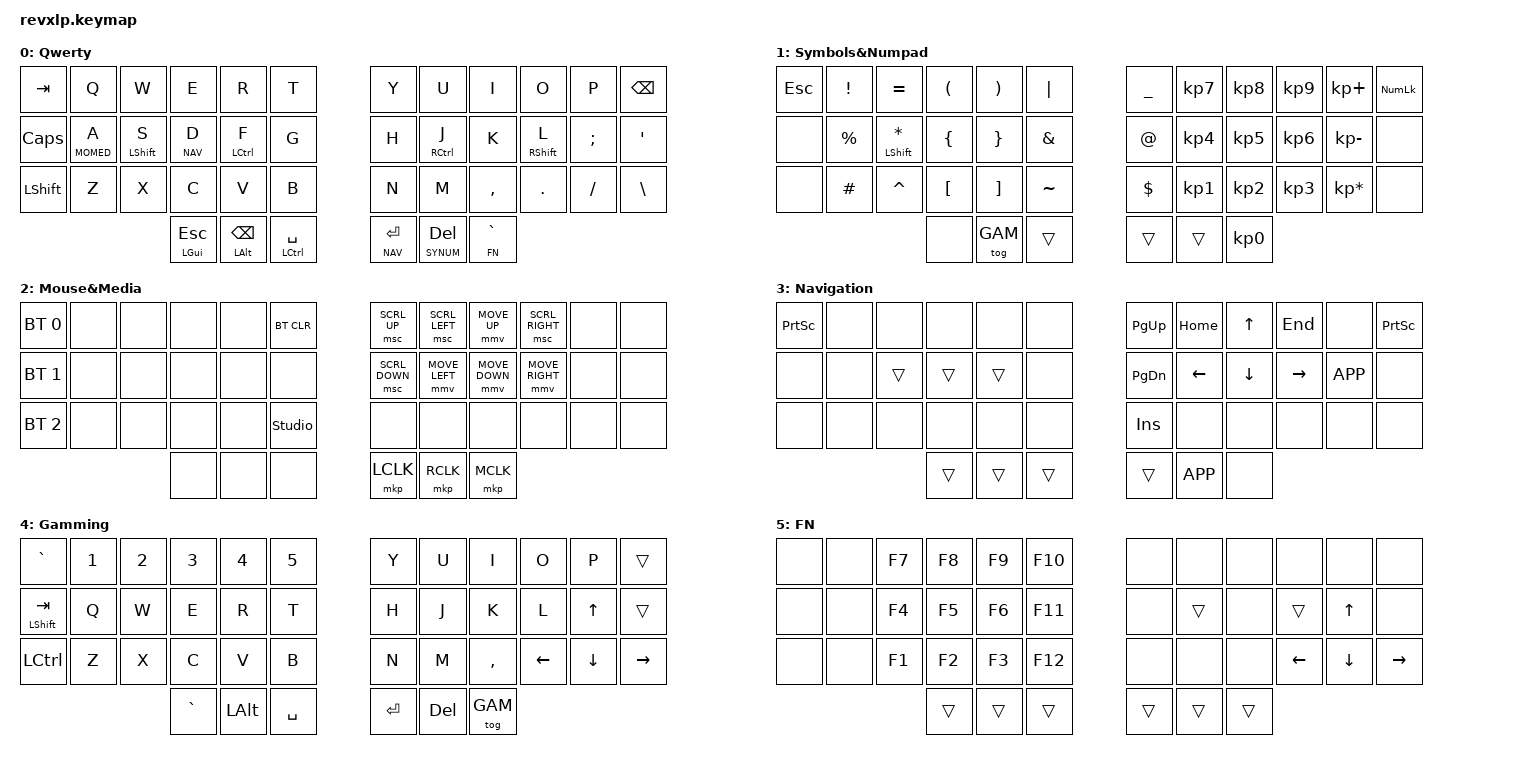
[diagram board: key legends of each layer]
/**
 * Copyright (c) 2020 The ZMK Contributors
 *
 * SPDX-License-Identifier: MIT
 */

#include <behaviors.dtsi>
#include <dt-bindings/zmk/keys.h>
#include <dt-bindings/zmk/bt.h>
#include <dt-bindings/zmk/backlight.h>
#include <dt-bindings/zmk/mouse.h>

#define QWERTY 0
#define SYNUM  1
#define MOMED  2
#define NAV    3
#define GAM    4
#define FN     5

/ {
    behaviors {
        bhm: balanced_homerow_mods {
            compatible = "zmk,behavior-hold-tap";
            label = "HOMEROW_MODS";
            #binding-cells = <2>;
            tapping-term-ms = <200>;    // <---[[moderate duration]]
            quick-tap-ms = <0>;
            flavor = "balanced";
            bindings = <&kp>, <&kp>;
        };
    };

    combos {
        compatible = "zmk,combos";
        combo_prnt_scrn{
            timeout-ms = <50>;
            key-positions = <7 8 9>;
            bindings = <&kp PSCRN>;
        };
    };

    keymap {
        compatible = "zmk,keymap";

        qwerty_layer {
            display-name = "Qwerty";
            bindings = <
&kp TAB     &kp Q         &kp W          &kp E       &kp R         &kp T   &kp Y   &kp U         &kp I       &kp O          &kp P       &kp BSPC
&kp CAPS    &lt MOMED A   &bhm LSHIFT S  &lt NAV D   &bhm LCTRL F  &kp G   &kp H   &bhm RCTRL J  &kp K       &bhm RSHIFT L  &kp SEMI    &kp QUOT
&kp LSHFT   &kp Z         &kp X          &kp C       &kp V         &kp B   &kp N   &kp M         &kp COMMA   &kp DOT        &kp SLASH   &kp BACKSLASH
                            &mt LGUI ESC  &mt LALT BSPC  &mt LCTRL SPACE  &lt NAV RET  &lt SYNUM DEL  &lt FN GRAVE
            >;
        };
        
        sym_num_layer {
            display-name = "Symbols&Numpad";
            bindings = <
&kp ESC   &kp EXCL     &kp EQUAL          &kp LPAR   &kp RPAR   &kp PIPE    &kp UNDER    &kp KP_N7   &kp KP_N8   &kp KP_N9   &kp KP_PLUS       &kp KP_NUMLOCK
&none     &kp PERCENT  &bhm LSHIFT ASTRK  &kp LBRC   &kp RBRC   &kp AMPS    &kp AT       &kp KP_N4   &kp KP_N5   &kp KP_N6   &kp KP_MINUS      &none
&none     &kp HASH     &kp CARET          &kp LBKT   &kp RBKT   &kp TILDE   &kp DOLLAR   &kp KP_N1   &kp KP_N2   &kp KP_N3   &kp KP_ASTERISK   &none
                                        &none   &tog GAM   &trans   &trans   &trans   &kp KP_N0
            >;
        };

        mouse_media_layer {
            display-name = "Mouse&Media";
            bindings = <
&bt BT_SEL 0 &none  &none  &none  &none  &bt BT_CLR         &msc SCRL_UP    &msc SCRL_LEFT  &mmv MOVE_UP    &msc SCRL_RIGHT  &none  &none
&bt BT_SEL 1 &none  &none  &none  &none  &none              &msc SCRL_DOWN  &mmv MOVE_LEFT    &mmv MOVE_DOWN  &mmv MOVE_RIGHT    &none  &none
&bt BT_SEL 2 &none  &none  &none  &none  &studio_unlock     &none  &none  &none  &none  &none  &none
                                  &none  &none  &none       &mkp LCLK  &mkp RCLK  &mkp MCLK 
            >;
        };

        nav_layer {
            display-name = "Navigation";
            bindings = <
&kp PSCRN  &none  &none   &none   &none   &none  &kp PG_UP  &kp HOME  &kp UP    &kp END    &none      &kp PSCRN
&none      &none  &trans  &trans  &trans  &none  &kp PG_DN  &kp LEFT  &kp DOWN  &kp RIGHT  &kp K_APP  &none
&none      &none  &none   &none   &none   &none  &kp INS    &none     &none     &none      &none      &none
                          &trans  &trans  &trans &trans     &kp K_APP &none
            >;
        };

        game_layer {
            display-name = "Gamming";
            bindings = <
&kp GRAVE       &kp N1  &kp N2  &kp N3  &kp N4  &kp N5  &kp Y  &kp U   &kp I      &kp O     &kp P     &trans
&mt LSHIFT TAB  &kp Q   &kp W   &kp E   &kp R   &kp T   &kp H  &kp J   &kp K      &kp L     &kp UP    &trans
&kp LCTRL       &kp Z   &kp X   &kp C   &kp V   &kp B   &kp N  &kp M   &kp COMMA  &kp LEFT  &kp DOWN  &kp RIGHT
                    &kp GRAVE   &kp LALT   &kp SPACE    &kp ENTER   &kp DEL   &tog GAM
            >;
        };

        fn_layer {
            display-name = "FN";
            bindings = <
&none  &none  &kp F7  &kp F8  &kp F9  &kp F10  &none  &none   &none  &none     &none     &none
&none  &none  &kp F4  &kp F5  &kp F6  &kp F11  &none  &trans  &none  &trans    &kp UP    &none
&none  &none  &kp F1  &kp F2  &kp F3  &kp F12  &none  &none   &none  &kp LEFT  &kp DOWN  &kp RIGHT
                      &trans  &trans  &trans   &trans &trans  &trans 
            >;
        };
        
    };
};
